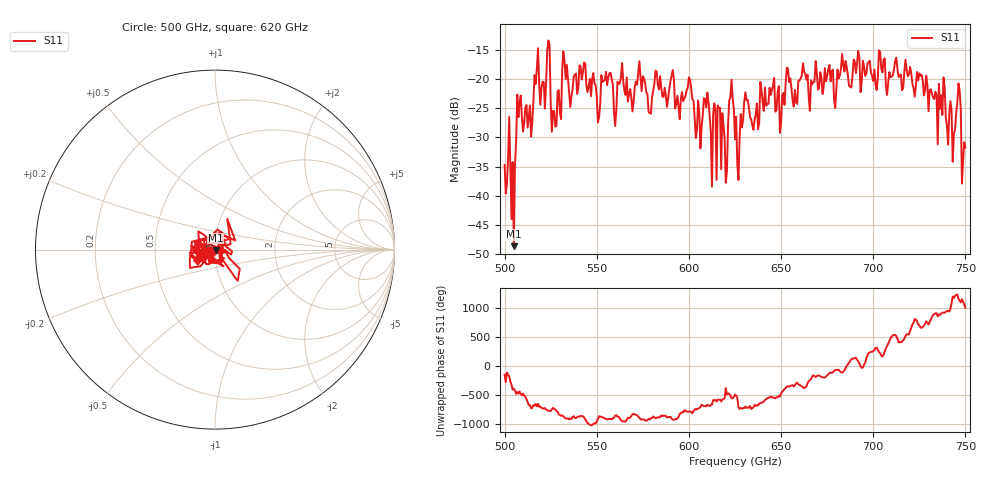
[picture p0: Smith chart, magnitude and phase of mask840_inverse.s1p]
!Created with skrf (http://scikit-rf.org).
# GHz S MA R 50.0
!freq magS11 angS11
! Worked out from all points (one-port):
!   401 points, 500 GHz to 750 GHz, reference 50 ohm
!   lowest |S11| = -48.7 dB at 505 GHz (marker M1), VSWR 1.01, Z = 50.3 - j0.19 ohm
!   |S11| at or under -10 dB: start of sweep to end of sweep
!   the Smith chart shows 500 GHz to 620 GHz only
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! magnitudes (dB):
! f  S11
! 500 GHz  -34.7
! 505 GHz  -48.7
! 508.1 GHz  -24.1
! 513.8 GHz  -24.5
! 516.9 GHz  -20.8
! 520.6 GHz  -20.4
! 523.8 GHz  -13.3
! 526.9 GHz  -25.5
! 531.2 GHz  -18.3
! 542.5 GHz  -18.7
! 550.6 GHz  -27.4
! 562.5 GHz  -20.7
! 578.8 GHz  -25.8
! 590.6 GHz  -19.4
! 593.8 GHz  -22.8
! 600 GHz  -19.7
! 605 GHz  -23.7
! 609.4 GHz  -24.8
! 620 GHz  -37.8
! 623.1 GHz  -20.1
! 625 GHz  -30.3
! 626.2 GHz  -34.6
! 656.2 GHz  -23.7
! 687.5 GHz  -21.3
! 718.8 GHz  -19.5
! 743.8 GHz  -29.4
! 746.2 GHz  -20.7
! 750 GHz  -31.7
